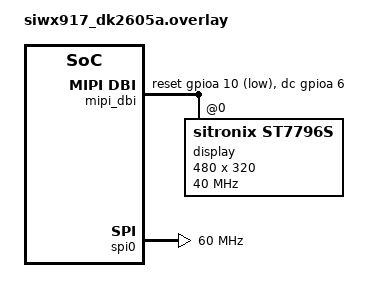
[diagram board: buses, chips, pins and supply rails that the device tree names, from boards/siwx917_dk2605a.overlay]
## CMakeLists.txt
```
cmake_minimum_required(VERSION 3.20.0)

find_package(Zephyr REQUIRED HINTS $ENV{ZEPHYR_BASE})
project(ble_hid_maze)

dt_chosen(display_node PROPERTY "zephyr,display")

if(NOT DEFINED display_node)
  message(FATAL_ERROR "No zephyr,display chosen node")
endif()

dt_prop(display_width
  PATH "${display_node}"
  PROPERTY width
  REQUIRED
)

dt_prop(display_height
  PATH "${display_node}"
  PROPERTY height
  REQUIRED
)

if(display_width EQUAL 128 AND display_height EQUAL 128)
  set(background_sources
    src/bg_hex_128x128.c
    src/bg_square_128x128.c
    src/bg_triangle_128x128.c
  )
elseif(display_width EQUAL 480 AND display_height EQUAL 320)
  set(background_sources
    src/bg_hex_480x320.c
    src/bg_square_480x320.c
    src/bg_triangle_480x320.c
  )
else()
  message(FATAL_ERROR
    "No maze assets for display resolution "
    "${display_width}x${display_height}"
  )
endif()

target_sources(app PRIVATE
  src/app_graphics.c
  src/app_graphics_marker.c
  src/app_input.c
  src/app_led.c
  src/bt_connection.c
  src/hid_mouse.c
  src/main.c
  ${background_sources}
)
```

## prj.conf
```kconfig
CONFIG_DISPLAY=y
CONFIG_GPIO=y
CONFIG_INPUT=y

CONFIG_LOG=y
CONFIG_BT_LOG_LEVEL_INF=y
CONFIG_SPEED_OPTIMIZATIONS=y

CONFIG_HEAP_MEM_POOL_SIZE=65536

CONFIG_BT=y
CONFIG_BT_CENTRAL=y
CONFIG_BT_SMP=y
CONFIG_BT_GATT_CLIENT=y

CONFIG_BT_BONDABLE=y
CONFIG_BT_SETTINGS=y
CONFIG_BT_MAX_PAIRED=1
CONFIG_BT_KEYS_OVERWRITE_OLDEST=y

# Needed for some BLE HID mouses:
CONFIG_BT_SMP_ENFORCE_MITM=n
CONFIG_BT_SMP_SC_ONLY=n
CONFIG_BT_SMP_SC_PAIR_ONLY=n

CONFIG_SETTINGS=y
CONFIG_SETTINGS_NVS=y

CONFIG_FLASH=y
CONFIG_FLASH_MAP=y
CONFIG_NVS=y

# Some targets, such as the xg24 boards, include onboard SPI flash,
# which this application does not use.
CONFIG_SPI_NOR=n

CONFIG_BT_RX_STACK_SIZE=4096
CONFIG_SYSTEM_WORKQUEUE_STACK_SIZE=4096
CONFIG_MAIN_STACK_SIZE=4096
```

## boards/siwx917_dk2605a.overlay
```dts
/*
 * Copyright (c) 2026 Silicon Laboratories Inc.
 *
 * SPDX-License-Identifier: Apache-2.0
 */

#include <zephyr/dt-bindings/mipi_dbi/mipi_dbi.h>

/* Disable the unused Wi-Fi network interface. */
&wifi0 {
	status = "disabled";
};

/ {
	chosen {
		zephyr,display = &display;
	};

	mipi_dbi {
		compatible = "zephyr,mipi-dbi-spi";
		spi-dev = <&spi0>;
		dc-gpios = <&gpioa 6 GPIO_ACTIVE_HIGH>; /* EXP21 */
		reset-gpios = <&gpioa 10 GPIO_ACTIVE_LOW>; /* EXP23 */
		write-only;
		#address-cells = <1>;
		#size-cells = <0>;

		display: display@0 {
			compatible = "sitronix,st7796s";
			reg = <0>;
			mipi-max-frequency = <DT_FREQ_M(40)>;
			mipi-mode = "MIPI_DBI_MODE_SPI_4WIRE";
			color-coding = "MIPI_DBI_MODE_RGB565";
			height = <320>;
			width = <480>;
			color-invert;
			madctl = <0x3e>;
			pgc = [f0 06 0b 07 06 05 2e 33 47 3a 17 16 2e 31];
			ngc = [f0 09 0d 09 08 23 2e 33 46 38 13 13 2c 32];
		};
	};
};

&pinctrl0 {
	spi_default: spi_default {
		group {
			pinmux = <GSPI_CLK_HP25>,  /* EXP03 */
				 <GSPI_CS0_HP28>,  /* EXP09 */
				 <GSPI_MOSI_HP27>; /* EXP07 */
		};
	};
};

&spi0 {
	pinctrl-0 = <&spi_default>;
	pinctrl-names = "default";
	clock-frequency = <DT_FREQ_M(60)>;
	status = "okay";
};
```

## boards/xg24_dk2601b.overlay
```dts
/*
 * Copyright (c) 2026 Silicon Laboratories Inc.
 *
 * SPDX-License-Identifier: Apache-2.0
 */

#include <zephyr/dt-bindings/mipi_dbi/mipi_dbi.h>

/* Allow the sensor rail to be powered down when it is not in use. */
&sensor_enable {
	/delete-property/ regulator-boot-on;
	regulator-boot-off;
};

/ {
	aliases {
		led0 = &green_led;
	};

	chosen {
		zephyr,display = &display;
	};

	mipi_dbi {
		compatible = "zephyr,mipi-dbi-spi";
		spi-dev = <&eusart1>;
		dc-gpios = <&gpiob 0 GPIO_ACTIVE_HIGH>; /* EXP09 */
		reset-gpios = <&gpiod 2 GPIO_ACTIVE_LOW>; /* EXP13 */
		write-only;
		#address-cells = <1>;
		#size-cells = <0>;

		display: display@1 {
			compatible = "sitronix,st7796s";
			reg = <0x1>;
			mipi-max-frequency = <DT_FREQ_M(20)>;
			mipi-mode = "MIPI_DBI_MODE_SPI_4WIRE";
			color-coding = "MIPI_DBI_MODE_RGB565";
			height = <320>;
			width = <480>;
			color-invert;
			madctl = <0x28>;
			pgc = [f0 06 0b 07 06 05 2e 33 47 3a 17 16 2e 31];
			ngc = [f0 09 0d 09 08 23 2e 33 46 38 13 13 2c 32];
		};
	};
};

&eusart1 {
	clock-frequency = <DT_FREQ_M(20)>;
	cs-gpios = <&gpioc 0 GPIO_ACTIVE_LOW>,
		   <&gpioa 7 GPIO_ACTIVE_LOW>;
	status = "okay";
};

&usart0 {
	current-speed = <115200>;
};
```

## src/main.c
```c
/*
 * Copyright (c) 2026 Silicon Laboratories Inc.
 * Copyright (c) 2019 Jan Van Winkel <jan.van_winkel@dxplore.eu>
 *
 * Based on ST7789V sample:
 * Copyright (c) 2019 Marc Reilly
 *
 * SPDX-License-Identifier: Apache-2.0
 */

#include <zephyr/logging/log.h>
LOG_MODULE_REGISTER(main, LOG_LEVEL_INF);

#include <zephyr/kernel.h>
#include <zephyr/sys/util.h>

#include <stdint.h>
#include <stdlib.h>

#include "app_types.h"
#include "ble_hid_app.h"
#include "app_input.h"
#include "app_display.h"
#include "app_graphics.h"
#include "app_graphics_marker.h"

enum states_t {
	APP_STATE_START,
	APP_STATE_LOAD_GAME,
	APP_STATE_RUN_GAME,
	APP_STATE_FINISH_GAME,
};

enum move_result {
	MOVE_ADVANCED,
	MOVE_BLOCKED,
	MOVE_FINISHED,
};

struct line_state {
	int16_t x;
	int16_t y;
	int16_t target_x;
	int16_t target_y;
	int16_t dx;
	int16_t dy;
	int16_t sx;
	int16_t sy;
	int16_t err;
};

static enum move_result slide_along_wall(struct line_state *line, int16_t old_err)
{
	bool can_move_x = false;
	bool can_move_y = false;
	enum touch_element touched_x = TOUCH_WALL;
	enum touch_element touched_y = TOUCH_WALL;
	bool prefer_x;
	bool move_x;

	if (line->x != line->target_x) {
		touched_x = app_graphics_marker_touching(line->x + line->sx, line->y);
		can_move_x = touched_x != TOUCH_WALL;
	}

	if (line->y != line->target_y) {
		touched_y = app_graphics_marker_touching(line->x, line->y + line->sy);
		can_move_y = touched_y != TOUCH_WALL;
	}

	/*
	 * Check the finish line for the alternative movements too.
	 */
	if ((can_move_x && touched_x == TOUCH_FINISH_LINE) ||
	    (can_move_y && touched_y == TOUCH_FINISH_LINE)) {
		return MOVE_FINISHED;
	}

	/*
	 * Prefer the axis having the largest remaining mouse movement. If it is
	 * blocked, slide along the other axis.
	 */
	prefer_x = abs(line->target_x - line->x) >= abs(line->target_y - line->y);
	move_x = can_move_x && (prefer_x || !can_move_y);

	if (move_x) {
		line->x += line->sx;
		line->err = old_err - line->dy;
		return MOVE_ADVANCED;
	}

	if (can_move_y) {
		line->y += line->sy;
		line->err = old_err + line->dx;
		return MOVE_ADVANCED;
	}

	LOG_DBG("Draw completely blocked");
	line->target_x = line->x;
	line->target_y = line->y;
	return MOVE_BLOCKED;
}

static enum move_result move_one_step(struct line_state *line)
{
	int16_t old_err = line->err;
	int16_t e2 = 2 * old_err;
	bool step_x = (line->x != line->target_x) && (e2 > -line->dy);
	bool step_y = (line->y != line->target_y) && (e2 < line->dx);
	int16_t next_x = line->x + (step_x ? line->sx : 0);
	int16_t next_y = line->y + (step_y ? line->sy : 0);
	int16_t next_err = old_err;
	enum touch_element touched;

	if (step_x) {
		next_err -= line->dy;
	}

	if (step_y) {
		next_err += line->dx;
	}

	touched = app_graphics_marker_touching(next_x, next_y);
	if (touched == TOUCH_FINISH_LINE) {
		return MOVE_FINISHED;
	}

	if (touched == TOUCH_WALL) {
		return slide_along_wall(line, old_err);
	}

	line->x = next_x;
	line->y = next_y;
	line->err = next_err;
	return MOVE_ADVANCED;
}

static int move_marker(struct int16_xy_pair *marker_pos_actual,
		       const struct int16_xy_pair *marker_pos_new, bool *finished)
{
	struct line_state line = {
		.x = marker_pos_actual->x,
		.y = marker_pos_actual->y,
		.target_x = marker_pos_new->x,
		.target_y = marker_pos_new->y,
	};
	uint8_t draw_step = 0;
	int ret;

	line.dx = abs(line.target_x - line.x);
	line.dy = abs(line.target_y - line.y);
	line.sx = (line.x < line.target_x) ? 1 : -1;
	line.sy = (line.y < line.target_y) ? 1 : -1;
	line.err = line.dx - line.dy;

	while (line.x != line.target_x || line.y != line.target_y) {
		enum move_result result = move_one_step(&line);

		if (result == MOVE_FINISHED) {
			LOG_INF("Drawing: touched finish color");
			*finished = true;
			return 0;
		}

		app_graphics_canvas_draw(line.x, line.y);

		/*
		 * Keep the logical position synchronized with every collision-free
		 * step. Display updates can still be throttled.
		 */
		marker_pos_actual->x = line.x;
		marker_pos_actual->y = line.y;
		draw_step++;

		/*
		 * A wall can stop the Bresenham loop before the next throttled display
		 * update. In that case render the final position as well.
		 */
		if (draw_step < MAX_MOVEMENT_WITHOUT_UPDATE &&
		    (line.x != line.target_x || line.y != line.target_y)) {
			continue;
		}

		ret = app_graphics_draw_marker(line.x, line.y);
		if (ret) {
			LOG_ERR("Draw marker failed: %d", ret);
			return ret;
		}
		draw_step = 0;
	}

	return 0;
}

static int run_game(struct int16_xy_pair *marker_pos_actual, enum states_t *app_state)
{
	struct mouse_data_element mouse_data;
	struct int16_xy_pair marker_pos_new;
	bool finished = false;
	int ret;

	ret = app_input_get_mouse(&mouse_data, K_FOREVER);
	if (ret) {
		return 0;
	}

	if (mouse_data.left_button) {
		*app_state = APP_STATE_LOAD_GAME;
		return 0;
	}

	if (mouse_data.right_button) {
		*app_state = APP_STATE_LOAD_GAME;
		app_graphics_next_background();
		return 0;
	}

	marker_pos_new.x = CLAMP((int32_t)marker_pos_actual->x + mouse_data.dx,
				 MARKER_BUF_DIM / 2 + 1, DISPLAY_W - MARKER_BUF_DIM / 2 - 1);
	marker_pos_new.y = CLAMP((int32_t)marker_pos_actual->y + mouse_data.dy,
				 MARKER_BUF_DIM / 2 + 1, DISPLAY_H - MARKER_BUF_DIM / 2 - 1);

	ret = move_marker(marker_pos_actual, &marker_pos_new, &finished);
	if (finished) {
		*app_state = APP_STATE_FINISH_GAME;
	}

	return ret;
}

int main(void)
{
	enum states_t app_state = APP_STATE_START;
	struct int16_xy_pair marker_pos_actual;
	int ret;

	while (true) {
		switch (app_state) {
		case APP_STATE_START:
			LOG_INF("Starting BLE Maze game");

			app_input_init();
			ret = app_graphics_init();
			if (ret) {
				LOG_ERR("App graphics init failed: %d", ret);
				return ret;
			}

			ret = ble_hid_app_start();
			if (ret) {
				LOG_ERR("HID app start failed: %d", ret);
				return ret;
			}

			app_state = APP_STATE_LOAD_GAME;
			break;

		case APP_STATE_LOAD_GAME:
			app_graphics_canvas_clear();
			ret = app_graphics_load_background();
			if (ret) {
				LOG_ERR("Load background failed: %d", ret);
				return ret;
			}

			marker_pos_actual.x = 10;
			marker_pos_actual.y = DISPLAY_H / 2;
			app_graphics_canvas_draw(marker_pos_actual.x, marker_pos_actual.y);
			ret = app_graphics_draw_marker(marker_pos_actual.x, marker_pos_actual.y);
			if (ret) {
				LOG_ERR("Draw marker failed: %d", ret);
				return ret;
			}

			app_input_flush();

			app_state = APP_STATE_RUN_GAME;
			break;

		case APP_STATE_RUN_GAME:
			ret = run_game(&marker_pos_actual, &app_state);
			if (ret) {
				return ret;
			}
			break;

		case APP_STATE_FINISH_GAME:

			LOG_INF("Game: loading the next background");

			k_msleep(500);

			app_graphics_next_background();

			app_state = APP_STATE_LOAD_GAME;
			break;

		default:
			app_state = APP_STATE_START;
			break;
		}
	}
}
```

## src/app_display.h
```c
/*
 * Copyright (c) 2026 Silicon Laboratories Inc.
 *
 * SPDX-License-Identifier: Apache-2.0
 */

#ifndef APP_DISPLAY_H_
#define APP_DISPLAY_H_

#include <zephyr/devicetree.h>
#include <zephyr/sys/util.h>

#ifdef __cplusplus
extern "C" {
#endif

#define DISPLAY_NODE DT_CHOSEN(zephyr_display)
BUILD_ASSERT(DT_NODE_HAS_STATUS(DISPLAY_NODE, okay), "zephyr,display node is not okay");

#define DISPLAY_W DT_PROP(DISPLAY_NODE, width)
#define DISPLAY_H DT_PROP(DISPLAY_NODE, height)

#ifdef __cplusplus
}
#endif

#endif /* APP_DISPLAY_H_ */
```

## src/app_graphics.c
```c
/*
 * Copyright (c) 2026 Silicon Laboratories Inc.
 *
 * SPDX-License-Identifier: Apache-2.0
 */

#include <errno.h>
#include <string.h>

#include <zephyr/device.h>
#include "app_graphics.h"
#include "app_graphics_marker.h"
#include "app_display.h"
#include <zephyr/drivers/display.h>
#include <zephyr/logging/log.h>
#include <zephyr/sys/byteorder.h>
#include <zephyr/sys/util.h>

LOG_MODULE_REGISTER(app_graphics, LOG_LEVEL_INF);

#define BACKGROUND_COUNT 3

#define RGB_TO_RGB565(r, g, b)                                                                     \
	((((uint16_t)(r) >> 3) << 11) | (((uint16_t)(g) >> 2) << 5) | ((uint16_t)(b) >> 3))
#define COLOR_RGB_565_BLACK  0x0000U
#define COLOR_RGB_565_WHITE  0xffffU
#define COLOR_RGB_565_RED    RGB_TO_RGB565(255, 0, 0)
#define COLOR_RGB_565_GREEN  RGB_TO_RGB565(0, 255, 0)
#define COLOR_RGB_565_YELLOW RGB_TO_RGB565(255, 208, 84)

extern const struct c_image bg_hex;
extern const struct c_image bg_square;
extern const struct c_image bg_triangle;

static const struct device *const display_dev = DEVICE_DT_GET(DT_CHOSEN(zephyr_display));
static struct display_capabilities display_capabilities;

/* One bit per pixel is enough to retain the marker trail. */
static uint8_t canvas_bitmap[(DISPLAY_W * DISPLAY_H) / 8];

static size_t display_bits_per_pixel;

/* The display is updated one row at a time, avoiding a full RGB frame buffer. */
static uint8_t *display_row_buf;
static struct display_buffer_descriptor display_row_buf_desc;

/* Scratch buffer used to redraw the marker and its immediate surroundings. */
static uint8_t *marker_draw_buf;
static struct display_buffer_descriptor marker_draw_buf_desc;

static size_t game_background_id;
static const struct c_image *const game_backgrounds[BACKGROUND_COUNT] = {
	&bg_square,
	&bg_triangle,
	&bg_hex,
};
static const struct c_image *current_background;

static int (*load_background_fn)(void);
static int (*draw_marker_fn)(uint16_t x, uint16_t y);

static uint16_t bg_color;
static uint16_t marker_color;
static uint16_t line_color;
static uint16_t finish_color;

static int init_display_row_buf(void);
static int init_marker_draw_buf_mono(void);
static int init_marker_draw_buf_rgb565(void);
static void canvas_set_pixel(uint16_t x, uint16_t y);
static uint8_t canvas_get_pixel(uint16_t x, uint16_t y);
static int load_background_mono(void);
static int load_background_rgb565(void);
static int draw_marker_mono(uint16_t x, uint16_t y);
static int draw_marker_rgb565(uint16_t x, uint16_t y);

int app_graphics_init(void)
{
	int err;

	if (!device_is_ready(display_dev)) {
		LOG_ERR("Display device %s is not ready", display_dev->name);
		return -ENODEV;
	}

	display_get_capabilities(display_dev, &display_capabilities);
	LOG_INF("Display: %ux%u, pixel format 0x%04x", display_capabilities.x_resolution,
		display_capabilities.y_resolution, display_capabilities.current_pixel_format);

	switch (display_capabilities.current_pixel_format) {
	case PIXEL_FORMAT_MONO01:
	case PIXEL_FORMAT_MONO10:
		display_bits_per_pixel = 1;
		load_background_fn = load_background_mono;
		draw_marker_fn = draw_marker_mono;

		err = init_marker_draw_buf_mono();
		if (err) {
			return err;
		}
		err = init_display_row_buf();
		if (err) {
			return err;
		}

		bg_color = sys_cpu_to_be16(COLOR_RGB_565_BLACK);
		marker_color = sys_cpu_to_be16(COLOR_RGB_565_WHITE);
		line_color = sys_cpu_to_be16(COLOR_RGB_565_WHITE);
		finish_color = sys_cpu_to_be16(COLOR_RGB_565_GREEN);
		break;
	case PIXEL_FORMAT_RGB_565:
	case PIXEL_FORMAT_RGB_565X:
		display_bits_per_pixel = 16;
		load_background_fn = load_background_rgb565;
		draw_marker_fn = draw_marker_rgb565;

		err = init_marker_draw_buf_rgb565();
		if (err) {
			return err;
		}
		err = init_display_row_buf();
		if (err) {
			return err;
		}

		bg_color = sys_cpu_to_be16(COLOR_RGB_565_BLACK);
		marker_color = sys_cpu_to_be16(COLOR_RGB_565_RED);
		line_color = sys_cpu_to_be16(COLOR_RGB_565_YELLOW);
		finish_color = sys_cpu_to_be16(COLOR_RGB_565_GREEN);
		break;
	default:
		LOG_ERR("Unsupported display pixel format 0x%04x",
			display_capabilities.current_pixel_format);
		return -ENOTSUP;
	}

	game_background_id = 0;
	current_background = game_backgrounds[game_background_id];

	err = display_blanking_off(display_dev);
	if (err < 0) {
		LOG_ERR("Could not enable the display: %d", err);
		return err;
	}

	return 0;
}

void app_graphics_next_background(void)
{
	game_background_id = (game_background_id + 1) % ARRAY_SIZE(game_backgrounds);
	current_background = game_backgrounds[game_background_id];
	LOG_INF("Switched to background %u", game_background_id);
}

static int init_display_row_buf(void)
{

	LOG_INF("Graphics buffer init");
	display_row_buf = k_malloc(DISPLAY_W * display_bits_per_pixel / 8);
	if (display_row_buf == NULL) {
		LOG_ERR("Failed to allocate buffer for updating display.");
		return -ENOMEM;
	}

	display_row_buf_desc.frame_incomplete = false;
	display_row_buf_desc.pitch = DISPLAY_W;
	display_row_buf_desc.width = DISPLAY_W;
	display_row_buf_desc.height = 1;
	display_row_buf_desc.buf_size = DISPLAY_W * display_bits_per_pixel / 8;

	return 0;
}

static int init_marker_draw_buf_mono(void)
{
	LOG_INF("Draw buffer init");
	marker_draw_buf = k_malloc(DISPLAY_W * MARKER_BUF_DIM * display_bits_per_pixel / 8);
	if (marker_draw_buf == NULL) {
		LOG_ERR("Failed to allocate buffer for drawing marker.");
		return -ENOMEM;
	}

	marker_draw_buf_desc.frame_incomplete = false;
	marker_draw_buf_desc.pitch = DISPLAY_W;
	marker_draw_buf_desc.width = DISPLAY_W; /* same as display width */
	marker_draw_buf_desc.height = MARKER_BUF_DIM;
	marker_draw_buf_desc.buf_size = DISPLAY_W * MARKER_BUF_DIM * display_bits_per_pixel / 8;

	return 0;
}

static int init_marker_draw_buf_rgb565(void)
{
	LOG_INF("Draw buffer init");
	marker_draw_buf = k_malloc(MARKER_BUF_DIM * MARKER_BUF_DIM * display_bits_per_pixel / 8);
	if (marker_draw_buf == NULL) {
		LOG_ERR("Failed to allocate buffer for drawing marker.");
		return -ENOMEM;
	}

	marker_draw_buf_desc.frame_incomplete = false;
	marker_draw_buf_desc.pitch = MARKER_BUF_DIM;
	marker_draw_buf_desc.width = MARKER_BUF_DIM;
	marker_draw_buf_desc.height = MARKER_BUF_DIM;
	marker_draw_buf_desc.buf_size =
		MARKER_BUF_DIM * MARKER_BUF_DIM * display_bits_per_pixel / 8;

	return 0;
}

void app_graphics_canvas_clear(void)
{
	memset(canvas_bitmap, 0, sizeof(canvas_bitmap));
}

void app_graphics_canvas_draw(uint16_t x0, uint16_t y0)
{
	int16_t w = LINE_WIDTH / 2;

	for (int16_t y = -w; y <= w; y++) {
		for (int16_t x = -w; x <= w; x++) {
			canvas_set_pixel(x0 + x, y0 + y);
		}
	}
}

static void canvas_set_pixel(uint16_t x, uint16_t y)
{
	if (x >= DISPLAY_W || y >= DISPLAY_H) {
		return;
	}

	uint32_t bit_index = (uint32_t)y * DISPLAY_W + x;
	uint32_t byte_index = bit_index >> 3;  /* divide by 8 */
	uint8_t bit_offset = bit_index & 0x07; /* mod 8 */

	canvas_bitmap[byte_index] |= (1u << bit_offset);
}

static uint8_t canvas_get_pixel(uint16_t x, uint16_t y)
{
	if (x >= DISPLAY_W || y >= DISPLAY_H) {
		return 0;
	}

	uint32_t bit_index = (uint32_t)y * DISPLAY_W + x;
	uint32_t byte_index = bit_index >> 3;  /* divide by 8 */
	uint8_t bit_offset = bit_index & 0x07; /* mod 8 */

	return (canvas_bitmap[byte_index] >> bit_offset) & 1u;
}

static inline uint8_t canvas_get_pixel_inline(uint16_t x, uint16_t y)
{
	return (canvas_bitmap[y * (DISPLAY_W / 8) + (x >> 3)] >> (x & 7)) & 1u;
}

static inline bool rgb565_to_mono_dither(uint16_t rgb565, size_t x, size_t y)
{
	static const uint8_t bayer4x4[4][4] = {
		{0, 8, 2, 10},
		{12, 4, 14, 6},
		{3, 11, 1, 9},
		{15, 7, 13, 5},
	};

	uint8_t r = (rgb565 >> 11) & 0x1F;
	uint8_t g = (rgb565 >> 5) & 0x3F;
	uint8_t b = rgb565 & 0x1F;

	uint8_t r8 = (r << 3) | (r >> 2);
	uint8_t g8 = (g << 2) | (g >> 4);
	uint8_t b8 = (b << 3) | (b >> 2);

	/* Luma, approximately 0..255 */
	uint16_t luma = (30 * r8 + 59 * g8 + 11 * b8) / 100;

	/* Convert Bayer value 0..15 to threshold around 0..255 */
	uint8_t threshold = bayer4x4[y & 3][x & 3] * 16 + 8;

	return luma > threshold;
}

static int load_background_mono(void)
{
	const uint16_t *pixel_data_b16 = (const uint16_t *)current_background->pixel_data;
	uint8_t *row_buf = display_row_buf;
	int ret;

	LOG_INF("Loading background for monochrome display");

	for (size_t y = 0; y < DISPLAY_H; y++) {
		memset(row_buf, 0, display_row_buf_desc.buf_size);

		for (size_t x = 0; x < DISPLAY_W; x++) {
			uint16_t pixel = pixel_data_b16[x + y * DISPLAY_W];

			if (rgb565_to_mono_dither(pixel, x, y)) {
				size_t byte_idx = x / 8;
				uint8_t bit_idx = x % 8; /* LSB first */

				row_buf[byte_idx] |= BIT(bit_idx);
			}
		}
		ret = display_write(display_dev, 0, y, &display_row_buf_desc, row_buf);
		if (ret < 0) {
			LOG_ERR("Failed to write to display (error %d)", ret);
			return ret;
		}
	}
	return 0;
}

static int load_background_rgb565(void)
{
	const uint16_t *pixel_data_b16 = (const uint16_t *)current_background->pixel_data;
	uint16_t *row_buf = (uint16_t *)display_row_buf;

	int ret;

	LOG_INF("Loading background for RGB565 display");
	for (size_t y = 0; y < DISPLAY_H; y++) {
		for (size_t x = 0; x < DISPLAY_W; x++) {
			row_buf[x] = (uint16_t)sys_cpu_to_be16(pixel_data_b16[x + y * DISPLAY_W]);
		}
		ret = display_write(display_dev, 0, y, &display_row_buf_desc, row_buf);
		if (ret < 0) {
			LOG_ERR("Failed to write to display (error %d)", ret);
			return ret;
		}
	}
	return 0;
}

static int draw_marker_mono(uint16_t x0, uint16_t y0)
{
	const uint16_t *pixel_data_b16 = (const uint16_t *)current_background->pixel_data;
	uint8_t *marker_buf = marker_draw_buf;
	int ret;

	LOG_DBG("marker center: x0:%d y0:%d", x0, y0);

	/*
	 * Reconstruct a full-width strip from the background and trail. A
	 * full-width pitch is required by monochrome display drivers.
	 */
	memset(marker_buf, 0, marker_draw_buf_desc.buf_size);
	for (size_t y = 0; y < marker_draw_buf_desc.height; y++) {
		for (size_t x = 0; x < marker_draw_buf_desc.width; x++) {
			uint16_t pixel;

			if (canvas_get_pixel_inline(x, y0 + y - marker_draw_buf_desc.height / 2)) {
				pixel = line_color;
			} else {
				pixel = pixel_data_b16[(x) +
						       (y0 + y - marker_draw_buf_desc.height / 2) *
							       DISPLAY_W];
			}

			if (rgb565_to_mono_dither(pixel, x,
						  y0 + y - marker_draw_buf_desc.height / 2)) {
				size_t byte_idx = x / 8;
				uint8_t bit_idx = x % 8; /* LSB first */

				marker_buf[byte_idx + y * (marker_draw_buf_desc.width / 8)] |=
					BIT(bit_idx);
			}
		}
	}

	/* Overlay each rectangular marker segment onto the reconstructed strip. */
	for (size_t i = 0; i < MARKER_DRAW_BUFFER_SEGMENT_ELEMENTS; i++) {
		for (int16_t sy = 0; sy < marker_draw_buffer_segment_dimensions[i].y; sy++) {
			for (int16_t sx = 0; sx < marker_draw_buffer_segment_dimensions[i].x;
			     sx++) {
				if (rgb565_to_mono_dither(
					    marker_color,
					    x0 + sx + marker_draw_buffer_segment_xy[i].x,
					    y0 + sy + marker_draw_buffer_segment_xy[i].y)) {
					int16_t buf_x =
						x0 + sx + marker_draw_buffer_segment_xy[i].x;
					int16_t buf_y =
						y0 + sy + marker_draw_buffer_segment_xy[i].y;

					int16_t bit_x = buf_x;
					int16_t bit_y =
						buf_y - (y0 - marker_draw_buf_desc.height / 2);

					size_t byte_idx = bit_x / 8;
					uint8_t bit_idx = bit_x % 8; /* LSB first */

					marker_buf[byte_idx + bit_y * (marker_draw_buf_desc.width /
								       8)] |= BIT(bit_idx);
				}
			}
		}
	}

	LOG_DBG("write buffer to display: x0:%d y0:%d w:%d h:%d", 0,
		y0 - marker_draw_buf_desc.height / 2, marker_draw_buf_desc.width,
		marker_draw_buf_desc.height);
	ret = display_write(display_dev, 0, y0 - marker_draw_buf_desc.height / 2,
			    &marker_draw_buf_desc, marker_buf);
	if (ret < 0) {
		LOG_ERR("Failed to write to display (error %d)", ret);
		return ret;
	}
	return 0;
}

static int draw_marker_rgb565(uint16_t x0, uint16_t y0)
{
	const uint16_t *pixel_data_b16 = (const uint16_t *)current_background->pixel_data;
	uint16_t *marker_buf = (uint16_t *)marker_draw_buf;
	int ret;

	LOG_DBG("marker center: x0:%d y0:%d", x0, y0);

	/* Reconstruct the marker-sized area from the background and trail. */
	memset(marker_buf, 0, marker_draw_buf_desc.buf_size);
	for (size_t y = 0; y < marker_draw_buf_desc.height; y++) {
		for (size_t x = 0; x < marker_draw_buf_desc.width; x++) {
			uint16_t pixel;

			if (canvas_get_pixel(x0 + x - marker_draw_buf_desc.width / 2,
					     y0 + y - marker_draw_buf_desc.height / 2)) {
				pixel = line_color;
			} else {
				pixel = sys_cpu_to_be16(
					pixel_data_b16[(x0 + x - marker_draw_buf_desc.width / 2) +
						       (y0 + y - marker_draw_buf_desc.height / 2) *
							       DISPLAY_W]);
			}

			marker_buf[x + y * marker_draw_buf_desc.pitch] = pixel;
		}
	}

	/* Overlay each rectangular marker segment at the buffer center. */
	for (size_t i = 0; i < MARKER_DRAW_BUFFER_SEGMENT_ELEMENTS; i++) {
		for (int16_t sy = 0; sy < marker_draw_buffer_segment_dimensions[i].y; sy++) {
			for (int16_t sx = 0; sx < marker_draw_buffer_segment_dimensions[i].x;
			     sx++) {
				marker_buf[(marker_draw_buf_desc.width / 2 + sx +
					    marker_draw_buffer_segment_xy[i].x) +
					   (marker_draw_buf_desc.height / 2 + sy +
					    marker_draw_buffer_segment_xy[i].y) *
						   marker_draw_buf_desc.pitch] = marker_color;
			}
		}
	}

	LOG_DBG("write buffer to display: x0:%d y0:%d w:%d h:%d",
		x0 - marker_draw_buf_desc.width / 2, y0 - marker_draw_buf_desc.height / 2,
		marker_draw_buf_desc.width, marker_draw_buf_desc.height);
	ret = display_write(display_dev, x0 - marker_draw_buf_desc.width / 2,
			    y0 - marker_draw_buf_desc.height / 2, &marker_draw_buf_desc,
			    marker_buf);
	if (ret < 0) {
		LOG_ERR("Failed to write to display (error %d)", ret);
		return ret;
	}
	return 0;
}

enum touch_element app_graphics_marker_touching(uint16_t x0, uint16_t y0)
{
	int16_t x, y;
	const int16_t *pixel_data_b16 = (const int16_t *)current_background->pixel_data;

	for (size_t i = 0; i < MARKER_DRAW_BUFFER_BORDER_ELEMENTS; i++) {
		x = x0 + marker_draw_buffer_border[i].x;
		y = y0 + marker_draw_buffer_border[i].y;

		if (x < 0 || y < 0 || x >= DISPLAY_W || y >= DISPLAY_H) {
			return TOUCH_DISPLAY_BORDER;
		}

		if (sys_cpu_to_be16(pixel_data_b16[y * DISPLAY_W + x]) == finish_color) {
			return TOUCH_FINISH_LINE;
		} else if (sys_cpu_to_be16(pixel_data_b16[y * DISPLAY_W + x]) != bg_color) {
			return TOUCH_WALL;
		}
	}

	return TOUCH_BACKGROUND;
}

int app_graphics_load_background(void)
{
	return load_background_fn();
}

int app_graphics_draw_marker(uint16_t x, uint16_t y)
{
	return draw_marker_fn(x, y);
}
```

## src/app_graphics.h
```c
/*
 * Copyright (c) 2026 Silicon Laboratories Inc.
 *
 * SPDX-License-Identifier: Apache-2.0
 */

#ifndef APP_GRAPHICS_H_
#define APP_GRAPHICS_H_

#include <stdint.h>

#include "app_types.h"

#ifdef __cplusplus
extern "C" {
#endif

int app_graphics_init(void);
int app_graphics_load_background(void);
int app_graphics_draw_marker(uint16_t x, uint16_t y);
void app_graphics_canvas_draw(uint16_t x, uint16_t y);
void app_graphics_canvas_clear(void);
void app_graphics_next_background(void);
enum touch_element app_graphics_marker_touching(uint16_t x, uint16_t y);

#ifdef __cplusplus
}
#endif

#endif /* APP_GRAPHICS_H_ */
```

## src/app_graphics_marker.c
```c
/*
 * Copyright (c) 2026 Silicon Laboratories Inc.
 *
 * SPDX-License-Identifier: Apache-2.0
 */

#include "app_graphics_marker.h"

#if (DISPLAY_W <= 64) || (DISPLAY_H <= 64)
/* Tiny displays (radius 3) */
const struct int16_xy_pair marker_draw_buffer_segment_xy[] = {{-1, -1}};
const struct int16_xy_pair marker_draw_buffer_segment_dimensions[] = {{3, 3}};

const struct int16_xy_pair marker_draw_buffer_border[] = {{-1, -1}, {0, -1}, {1, -1}, {-1, 0},
							  {1, 0},   {-1, 1}, {0, 1},  {1, 1}};

#elif (DISPLAY_W <= 128) || (DISPLAY_H <= 128)
/* Small displays (radius 5) */
const struct int16_xy_pair marker_draw_buffer_segment_xy[] = {{-1, -2}, {-2, -1}};
const struct int16_xy_pair marker_draw_buffer_segment_dimensions[] = {{3, 5}, {5, 3}};

const struct int16_xy_pair marker_draw_buffer_border[] = {{-1, -2}, {0, -2}, {1, -2}, {-2, -1},
							  {2, -1},  {-2, 0}, {2, 0},  {-2, 1},
							  {2, 1},   {-1, 2}, {0, 2},  {1, 2}};

#elif (DISPLAY_W <= 320) || (DISPLAY_H <= 320)
/* Medium displays (radius 9) */
const struct int16_xy_pair marker_draw_buffer_segment_xy[] = {{-3, -3}, {-2, -4}, {-4, -2}};
const struct int16_xy_pair marker_draw_buffer_segment_dimensions[] = {{7, 7}, {5, 9}, {9, 5}};
const struct int16_xy_pair marker_draw_buffer_border[] = {
	{-2, -4}, {-1, -4}, {0, -4}, {1, -4}, {2, -4}, {-3, -3}, {3, -3}, {-4, -2},
	{4, -2},  {-4, -1}, {4, -1}, {-4, 0}, {4, 0},  {-4, 1},  {4, 1},  {-4, 2},
	{4, 2},   {-3, 3},  {3, 3},  {-2, 4}, {-1, 4}, {0, 4},   {1, 4},  {2, 4}};

#else
/* Large displays (radius 11) */
const struct int16_xy_pair marker_draw_buffer_segment_xy[] = {
	{-2, -5}, {-3, -4}, {-4, -3}, {-5, -2}};
const struct int16_xy_pair marker_draw_buffer_segment_dimensions[] = {
	{5, 11}, {7, 9}, {9, 7}, {11, 5}};
const struct int16_xy_pair marker_draw_buffer_border[] = {
	{-2, -5}, {-1, -5}, {0, -5},  {1, -5}, {2, -5},  {-3, -4}, {3, -4},
	{-4, -3}, {4, -3},  {-5, -2}, {5, -2}, {-5, -1}, {5, -1},  {-5, 0},
	{5, 0},   {-5, 1},  {5, 1},   {-5, 2}, {5, 2},   {-4, 3},  {4, 3},
	{-3, 4},  {3, 4},   {-2, 5},  {-1, 5}, {0, 5},   {1, 5},   {2, 5}};

#endif
```

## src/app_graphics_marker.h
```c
/*
 * Copyright (c) 2026 Silicon Laboratories Inc.
 *
 * SPDX-License-Identifier: Apache-2.0
 */

#ifndef APP_GRAPHICS_MARKER_H_
#define APP_GRAPHICS_MARKER_H_

#include <zephyr/kernel.h>
#include "app_display.h"
#include "app_types.h"

#ifdef __cplusplus
extern "C" {
#endif

extern const struct int16_xy_pair marker_draw_buffer_segment_xy[];
extern const struct int16_xy_pair marker_draw_buffer_segment_dimensions[];
extern const struct int16_xy_pair marker_draw_buffer_border[];

#if (DISPLAY_W <= 64) || (DISPLAY_H <= 64)
/* Tiny displays (radius 3). */
#define LINE_WIDTH                          1
#define MARKER_BUF_DIM                      9
#define MARKER_BUF_MIN_WIDTH                5
#define MARKER_BUF_MIN_HEIGHT               5
#define MARKER_DRAW_BUFFER_BORDER_ELEMENTS  8
#define MARKER_DRAW_BUFFER_SEGMENT_ELEMENTS 1

#elif (DISPLAY_W <= 128) || (DISPLAY_H <= 128)
/* Small displays (radius 5). */
#define LINE_WIDTH                          1
#define MARKER_BUF_DIM                      9
#define MARKER_BUF_MIN_WIDTH                7
#define MARKER_BUF_MIN_HEIGHT               7
#define MARKER_DRAW_BUFFER_SEGMENT_ELEMENTS 2
#define MARKER_DRAW_BUFFER_BORDER_ELEMENTS  12

#elif (DISPLAY_W <= 320) || (DISPLAY_H <= 320)
/* Medium displays (radius 9). */
#define LINE_WIDTH                          3
#define MARKER_BUF_DIM                      21
#define MARKER_BUF_MIN_WIDTH                9
#define MARKER_BUF_MIN_HEIGHT               9
#define MARKER_DRAW_BUFFER_SEGMENT_ELEMENTS 3
#define MARKER_DRAW_BUFFER_BORDER_ELEMENTS  24

#else
/* Large displays (radius 11). */
#define LINE_WIDTH                          5
#define MARKER_BUF_DIM                      21
#define MARKER_BUF_MIN_WIDTH                13
#define MARKER_BUF_MIN_HEIGHT               13
#define MARKER_DRAW_BUFFER_SEGMENT_ELEMENTS 4
#define MARKER_DRAW_BUFFER_BORDER_ELEMENTS  28

#endif

#define MAX_MOVEMENT_WITHOUT_UPDATE ((MARKER_BUF_DIM - MARKER_BUF_MIN_WIDTH) / 2)

#ifdef __cplusplus
}
#endif

#endif /* APP_GRAPHICS_MARKER_H_ */
```

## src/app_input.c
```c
/*
 * Copyright (c) 2026 Silicon Laboratories Inc.
 *
 * SPDX-License-Identifier: Apache-2.0
 */

#include <errno.h>

#include <zephyr/kernel.h>
#include <zephyr/logging/log.h>

LOG_MODULE_REGISTER(app_input, LOG_LEVEL_INF);

#include "app_input.h"

#define APP_INPUT_MOUSE_QUEUE_LEN 10

static char mouse_data_queue_buffer[APP_INPUT_MOUSE_QUEUE_LEN * sizeof(struct mouse_data_element)];
static struct k_msgq mouse_data_queue;

void app_input_init(void)
{
	k_msgq_init(&mouse_data_queue, mouse_data_queue_buffer, sizeof(struct mouse_data_element),
		    APP_INPUT_MOUSE_QUEUE_LEN);
}

int app_input_submit_mouse(const struct mouse_data_element *mouse_data)
{
	if (mouse_data == NULL) {
		return -EINVAL;
	}

	while (k_msgq_put(&mouse_data_queue, mouse_data, K_NO_WAIT) != 0) {
		/*
		 * Preserve the current policy:
		 * if the queue is full, drop old mouse data and keep the
		 * newest report.
		 */
		k_msgq_purge(&mouse_data_queue);
	}

	LOG_DBG("Added new element: x:%d, y:%d, queue load: %d / %d", mouse_data->dx,
		mouse_data->dy, k_msgq_num_used_get(&mouse_data_queue), APP_INPUT_MOUSE_QUEUE_LEN);

	return 0;
}

int app_input_get_mouse(struct mouse_data_element *mouse_data, k_timeout_t timeout)
{
	int ret;

	if (mouse_data == NULL) {
		return -EINVAL;
	}

	ret = k_msgq_get(&mouse_data_queue, mouse_data, timeout);

	LOG_DBG("Got element out: x:%d, y:%d, queue load: %d / %d", mouse_data->dx, mouse_data->dy,
		k_msgq_num_used_get(&mouse_data_queue), APP_INPUT_MOUSE_QUEUE_LEN);

	return ret;
}

void app_input_flush(void)
{
	k_msgq_purge(&mouse_data_queue);
}
```

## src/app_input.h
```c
/*
 * Copyright (c) 2026 Silicon Laboratories Inc.
 *
 * SPDX-License-Identifier: Apache-2.0
 */

#ifndef APP_INPUT_H_
#define APP_INPUT_H_

#include <zephyr/kernel.h>

#include "app_types.h"

#ifdef __cplusplus
extern "C" {
#endif

void app_input_init(void);

int app_input_submit_mouse(const struct mouse_data_element *mouse_data);

int app_input_get_mouse(struct mouse_data_element *mouse_data, k_timeout_t timeout);

void app_input_flush(void);

#ifdef __cplusplus
}
#endif

#endif /* APP_INPUT_H_ */
```

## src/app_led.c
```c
/*
 * Copyright (c) 2026 Silicon Laboratories Inc.
 *
 * SPDX-License-Identifier: Apache-2.0
 */

#include "app_led.h"

#include <errno.h>
#include <stdbool.h>
#include <stddef.h>
#include <stdint.h>

#include <zephyr/device.h>
#include <zephyr/devicetree.h>
#include <zephyr/drivers/gpio.h>
#include <zephyr/kernel.h>
#include <zephyr/sys/util.h>

#define LED_NODE DT_ALIAS(led0)

#if !DT_NODE_EXISTS(LED_NODE)
#error "Define devicetree alias led0"
#endif

static const struct gpio_dt_spec led = GPIO_DT_SPEC_GET(LED_NODE, gpios);

struct led_step {
	bool on;
	uint32_t duration_ms;
};

static const struct led_step blink_slow_pattern[] = {
	{true, 100},
	{false, 900},
};

static const struct led_step blink_fast_pattern[] = {
	{true, 100},
	{false, 100},
};

static const struct led_step heartbeat_pattern[] = {
	{true, 100},
	{false, 100},
	{true, 100},
	{false, 700},
};

static struct k_work_delayable led_work;

static const struct led_step *active_pattern;
static size_t active_pattern_len;
static size_t active_step;

static void led_work_handler(struct k_work *work)
{
	const struct led_step *step;

	ARG_UNUSED(work);

	if (active_pattern == NULL || active_pattern_len == 0) {
		return;
	}

	step = &active_pattern[active_step];

	gpio_pin_set_dt(&led, step->on);

	active_step++;
	if (active_step >= active_pattern_len) {
		active_step = 0;
	}

	k_work_schedule(&led_work, K_MSEC(step->duration_ms));
}

static int led_pattern_start(const struct led_step *pattern, size_t pattern_len)
{
	if (pattern == NULL || pattern_len == 0) {
		return -EINVAL;
	}

	k_work_cancel_delayable(&led_work);

	active_pattern = pattern;
	active_pattern_len = pattern_len;
	active_step = 0;

	k_work_schedule(&led_work, K_NO_WAIT);

	return 0;
}

static void led_pattern_stop(void)
{
	k_work_cancel_delayable(&led_work);

	active_pattern = NULL;
	active_pattern_len = 0;
	active_step = 0;
}

int app_led_init(void)
{
	int ret;

	if (!gpio_is_ready_dt(&led)) {
		return -ENODEV;
	}

	ret = gpio_pin_configure_dt(&led, GPIO_OUTPUT_INACTIVE);
	if (ret) {
		return ret;
	}

	k_work_init_delayable(&led_work, led_work_handler);

	active_pattern = NULL;
	active_pattern_len = 0;
	active_step = 0;

	return 0;
}

int app_led_on(void)
{
	led_pattern_stop();
	return gpio_pin_set_dt(&led, 1);
}

int app_led_off(void)
{
	led_pattern_stop();
	return gpio_pin_set_dt(&led, 0);
}

int app_led_blink_slow(void)
{
	return led_pattern_start(blink_slow_pattern, ARRAY_SIZE(blink_slow_pattern));
}

int app_led_blink_fast(void)
{
	return led_pattern_start(blink_fast_pattern, ARRAY_SIZE(blink_fast_pattern));
}

int app_led_heartbeat(void)
{
	return led_pattern_start(heartbeat_pattern, ARRAY_SIZE(heartbeat_pattern));
}
```

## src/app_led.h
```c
/*
 * Copyright (c) 2026 Silicon Laboratories Inc.
 *
 * SPDX-License-Identifier: Apache-2.0
 */

#ifndef APP_LED_H_
#define APP_LED_H_

int app_led_init(void);

int app_led_on(void);
int app_led_off(void);
int app_led_blink_slow(void);
int app_led_blink_fast(void);
int app_led_heartbeat(void);

#endif /* APP_LED_H_ */
```

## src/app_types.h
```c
/*
 * Copyright (c) 2026 Silicon Laboratories Inc.
 *
 * SPDX-License-Identifier: Apache-2.0
 */

#ifndef APP_TYPES_H_
#define APP_TYPES_H_

#include <stdbool.h>
#include <stdint.h>

struct int16_xy_pair {
	int16_t x;
	int16_t y;
};

struct mouse_data_element {
	int16_t dx;
	int16_t dy;
	bool left_button;
	bool right_button;
};

/* Common header used by the variable-sized GIMP C-source images. */
struct c_image {
	unsigned int width;
	unsigned int height;
	unsigned int bytes_per_pixel;
	const char *comment;
	unsigned char pixel_data[];
};

enum touch_element {
	TOUCH_BACKGROUND,
	TOUCH_WALL,
	TOUCH_FINISH_LINE,
	TOUCH_DISPLAY_BORDER,
};

#endif /* APP_TYPES_H_ */
```
